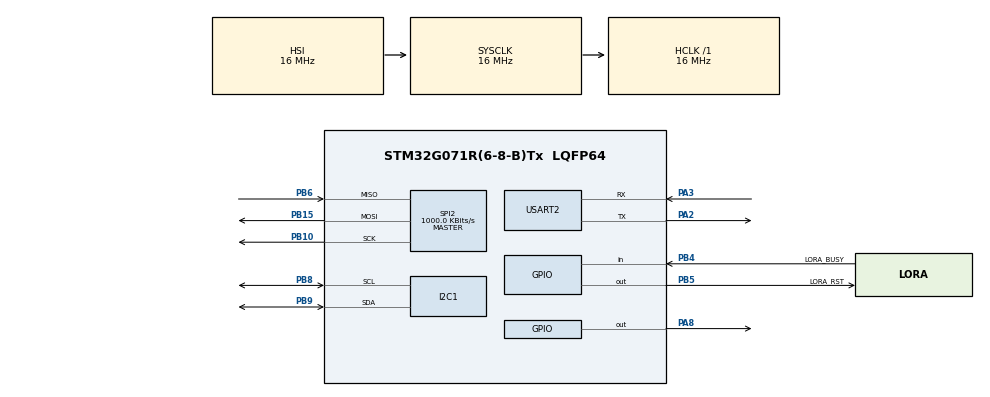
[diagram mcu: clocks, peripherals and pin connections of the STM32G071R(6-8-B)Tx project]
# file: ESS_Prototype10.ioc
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I2C1.Timing=0x00503D58
Mcu.Family=STM32G0
Mcu.Name=STM32G071R(6-8-B)Tx
Mcu.Package=LQFP64
NVIC.I2C1_IRQn=true\:0\:0\:false\:false\:true\:true\:true\:true
NVIC.RCC_IRQn=true\:0\:0\:false\:false\:true\:true\:false\:true
NVIC.SPI2_IRQn=true\:0\:0\:false\:false\:true\:true\:true\:true
NVIC.USART2_IRQn=true\:0\:0\:false\:false\:true\:true\:true\:true
PA13.Mode=Serial_Wire
PA13.Signal=SYS_SWDIO
PA14-BOOT0.Mode=Serial_Wire
PA14-BOOT0.Signal=SYS_SWCLK
PA2.Mode=Asynchronous
PA2.Signal=USART2_TX
PA3.Mode=Asynchronous
PA3.Signal=USART2_RX
PA8.Signal=GPIO_Output
PB10.Mode=Full_Duplex_Master
PB10.Signal=SPI2_SCK
PB15.Mode=Full_Duplex_Master
PB15.Signal=SPI2_MOSI
PB4.GPIO_Label=LORA_BUSY
PB4.Signal=GPIO_Input
PB5.GPIO_Label=LORA_RST
PB5.Signal=GPIO_Output
PB6.Mode=Full_Duplex_Master
PB6.Signal=SPI2_MISO
PB8.Mode=I2C
PB8.Signal=I2C1_SCL
PB9.Mode=I2C
PB9.Signal=I2C1_SDA
ProjectManager.HeapSize=0x200
ProjectManager.StackSize=0x400
ProjectManager.TargetToolchain=STM32CubeIDE
RCC.AHBFreq_Value=16000000
RCC.CortexFreq_Value=16000000
RCC.EXTERNAL_CLOCK_VALUE=48000
RCC.HCLKFreq_Value=16000000
RCC.HSE_VALUE=8000000
RCC.HSI_VALUE=16000000
RCC.LSE_VALUE=32768
RCC.SYSCLKFreq_VALUE=16000000
RCC.VCOOutputFreq_Value=128000000
SPI2.BaudRatePrescaler=SPI_BAUDRATEPRESCALER_16
SPI2.CalculateBaudRate=1000.0 KBits/s
SPI2.DataSize=SPI_DATASIZE_8BIT
SPI2.Direction=SPI_DIRECTION_2LINES
SPI2.Mode=SPI_MODE_MASTER
SPI2.VirtualType=VM_MASTER
USART2.VirtualMode-Asynchronous=VM_ASYNC
board=custom

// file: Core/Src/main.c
/* USER CODE BEGIN Header */
/* ============================================================================
 * Final Exam Project - IoT Prototype: Smart Sensing via LoRa.
 * Board: NUCLEO-G071RB + BME680 (I2C) + SX1262 LoRa HAT (SPI)
 * Group : 6
 * Student: Ridham Pansara
 * Date: 22 July 2025
 * Description:
 *   - Reads environmental data from BME680 over I2C
 *   - UART CLI for user commands (PuTTY)
 *   - Controls LoRa module (SX1262) over SPI (send Sensor Data and message)
 * ========================================================================== */
/* USER CODE END Header */
#include "main.h"           // Core STM32 includes, generated by CubeMX
#include "i2c.h"            // I2C interface for BME680 sensor
#include "spi.h"            // SPI interface for LoRa HAT
#include "usart.h"          // USART2 for UART CLI
#include "gpio.h"           // GPIO for pin controls

/* USER CODE BEGIN Includes */
#include "bme68x.h"         // Bosch BME680 sensor driver
#include "bme68x_defs.h"    // Extra BME680 definitions
#include <stdio.h>          // Standard C input/output
#include <string.h>         // String handling (for command parsing)
#include <math.h>           // Math library (not strictly needed, but safe)
/* USER CODE END Includes */

/* USER CODE BEGIN PD */
// === Pin/Peripheral Defines ===
#define BME68X_I2C_ADDR        0x77                // I2C address for BME680
#define LORA_NSS_Pin           GPIO_PIN_8          // Chip select (SPI NSS) pin for LoRa
#define LORA_NSS_GPIO_Port     GPIOA               // NSS pin port
#define LORA_BUSY_Pin          GPIO_PIN_4          // LoRa BUSY signal pin
#define LORA_BUSY_GPIO_Port    GPIOB               // BUSY pin port
#define LORA_RST_Pin           GPIO_PIN_5          // LoRa RESET pin
#define LORA_RST_GPIO_Port     GPIOB               // RESET pin port

/* USER CODE END PD */

/* USER CODE BEGIN PV */
// Handles created by CubeMX auto code
extern I2C_HandleTypeDef hi2c1;    // I2C1 handle for BME680
extern UART_HandleTypeDef huart2;  // UART2 handle for PC CLI
extern SPI_HandleTypeDef hspi2;    // SPI2 handle for LoRa HAT

// === Global Variables for Sensor and CLI State ===
struct bme68x_dev bme;                 // BME680 device struct for Bosch API
struct bme68x_conf conf;               // Configuration struct for BME680
struct bme68x_heatr_conf heatr_conf;   // Heater config for BME680
struct bme68x_data data;               // Holds latest measurement

uint8_t rx_byte;                       // Holds each byte received over UART
char command_buffer[32];               // Buffer to collect one user command
uint8_t cmd_index = 0;                 // Tracks where to store next character
/* USER CODE END PV */

void SystemClock_Config(void);
/* USER CODE BEGIN PFP */
// --- LoRa function prototypes ---
void LoRa_Select(void);
void LoRa_Unselect(void);
void LoRa_WaitWhileBusy(void);
void LoRa_WriteCommand(uint8_t cmd, uint8_t *data, uint16_t len);
void LoRa_SendString(const char* str);
void LoRa_SetStandby(void);
void LoRa_SetPacketType(void);
void LoRa_SetRfFrequency(uint32_t frequency_hz);
void LoRa_SetBufferBaseAddress(void);
void LoRa_SetModulationParams(void);
void LoRa_SetPacketParams(uint8_t payload_length);
void LoRa_SetTxParams(void);
void LoRa_SendString(const char* str);
void LoRa_Reset(void);
void LoRa_Init(void);
void LoRa_PrintStatus(void);
uint8_t LoRa_GetStatus(void);

/* USER CODE END PFP */

/* USER CODE BEGIN 0 */
/* ============================================================================
 * This function reroutes printf output to the UART (so it prints in PuTTY)
 * ========================================================================= */
int _write(int file, char *ptr, int len) {
    HAL_UART_Transmit(&huart2, (uint8_t*)ptr, len, HAL_MAX_DELAY); // Send buffer over UART2
    return len; // Return the number of bytes "written"
}

/* ============================================================================
 * BME680 - Bosch driver needs these callbacks for I2C and delay
 * ========================================================================= */
int8_t user_i2c_read(uint8_t reg_addr, uint8_t *data, uint32_t len, void *intf_ptr) {
    // Reads a register from BME680 using HAL I2C
    return HAL_I2C_Mem_Read((I2C_HandleTypeDef*)intf_ptr, BME68X_I2C_ADDR << 1, reg_addr,
                            I2C_MEMADD_SIZE_8BIT, data, len, HAL_MAX_DELAY) == HAL_OK ? 0 : -1;
}

int8_t user_i2c_write(uint8_t reg_addr, const uint8_t *data, uint32_t len, void *intf_ptr) {
    // Writes a register to BME680 using HAL I2C
    return HAL_I2C_Mem_Write((I2C_HandleTypeDef*)intf_ptr, BME68X_I2C_ADDR << 1, reg_addr,
                             I2C_MEMADD_SIZE_8BIT, (uint8_t*)data, len, HAL_MAX_DELAY) == HAL_OK ? 0 : -1;
}

void user_delay_us(uint32_t period, void *intf_ptr) {
    // Simple busy-wait for crude microsecond delay (good enough for sensor)
    for (volatile uint32_t i = 0; i < period * 10; i++) { __NOP(); }
}

/* ============================================================================
 * LoRa SPI Driver Functions (basic low-level SPI protocol for SX1262)
 * ========================================================================= */

// Activates the chip select pin for LoRa SPI (NSS LOW = active)
void LoRa_Select(void) {
    HAL_GPIO_WritePin(LORA_NSS_GPIO_Port, LORA_NSS_Pin, GPIO_PIN_RESET);
}

// Deactivates the chip select pin for LoRa SPI (NSS HIGH = inactive)
void LoRa_Unselect(void) {
    HAL_GPIO_WritePin(LORA_NSS_GPIO_Port, LORA_NSS_Pin, GPIO_PIN_SET);
}

// Waits until LoRa's BUSY pin goes low (module is ready for next SPI op)
void LoRa_WaitWhileBusy(void) {
    uint32_t timeout = HAL_GetTick() + 1000;  // 1 second timeout
    while (HAL_GPIO_ReadPin(LORA_BUSY_GPIO_Port, LORA_BUSY_Pin) == GPIO_PIN_SET) {
        if (HAL_GetTick() > timeout) {
            printf("[ERROR] BUSY timeout!\r\n");
            break; // exit while loop if stuck
        }
    }
}

// Issues a hardware reset pulse to the LoRa HAT (required for init)
void LoRa_Reset(void) {
    HAL_GPIO_WritePin(LORA_RST_GPIO_Port, LORA_RST_Pin, GPIO_PIN_RESET); // Set RESET low
    HAL_Delay(10);                                                       // Wait 10ms
    HAL_GPIO_WritePin(LORA_RST_GPIO_Port, LORA_RST_Pin, GPIO_PIN_SET);   // Set RESET high
    HAL_Delay(10);                                                       // Wait again
}

// Fully initialize/configure the SX1262 LoRa module.
void LoRa_Init(void) {
    LoRa_SetStandby();            // Standby mode (required for config)
    LoRa_SetPacketType();         // Set to LoRa packet type
    LoRa_SetRfFrequency(868000000); // Set EU ISM band, adjust if needed
    LoRa_SetBufferBaseAddress();  // TX/RX buffer address to 0
    LoRa_SetModulationParams();   // SF7/BW125/CR4_5
    LoRa_SetPacketParams(16);     // Default 16-byte payload, adjust as needed
    LoRa_SetTxParams();           // Output power, ramp time
    printf("LoRa: Module initialized.\r\n");
}

// Print the status of the SX126x chip.
void LoRa_PrintStatus(void) {
    uint8_t status = LoRa_GetStatus();
    printf("SX126x Status: 0x%02X\r\n", status);
}

// Sends a SPI command plus data payload to the LoRa chip
void LoRa_WriteCommand(uint8_t cmd, uint8_t *data, uint16_t len) {
    LoRa_WaitWhileBusy();                            // Wait until module is ready
    LoRa_Select();                                   // Activate NSS
    HAL_SPI_Transmit(&hspi2, &cmd, 1, 100);          // Send the command byte
    HAL_SPI_Transmit(&hspi2, data, len, 100);        // Send any extra data bytes
    LoRa_Unselect();                                 // Deactivate NSS
    LoRa_WaitWhileBusy();                            // Wait again for completion
}

// Puts LoRa module in standby (must be done before config/tx)
void LoRa_SetStandby(void) {
    uint8_t cmd[] = { 0x01, 0x00 }; // 0x01 = STDBY_RC mode
    LoRa_WriteCommand(0x80, cmd, sizeof(cmd)); // 0x80 = SetStandby command
}

// Tells LoRa to use LoRa modulation (not FSK)
void LoRa_SetPacketType(void) {
    uint8_t cmd[] = { 0x01 }; // 0x01 = LoRa packet
    LoRa_WriteCommand(0x8A, cmd, sizeof(cmd)); // 0x8A = SetPacketType
}

// Sets carrier frequency for LoRa (e.g., 868 MHz for Europe)
void LoRa_SetRfFrequency(uint32_t frequency_hz) {
    // Convert freq to SX1262 register format
    uint32_t freq = (uint32_t)((double)frequency_hz / 32000000.0 * (1 << 25));
    uint8_t cmd[] = {
        (uint8_t)(freq >> 24),
        (uint8_t)(freq >> 16),
        (uint8_t)(freq >> 8),
        (uint8_t)(freq >> 0)
    };
    LoRa_WriteCommand(0x86, cmd, sizeof(cmd)); // 0x86 = SetRfFrequency
}

// Sets output power and ramp time for transmission
void LoRa_SetTxParams(void) {
    uint8_t cmd[] = { 0x0F, 0xE0 }; // 0x0F = 15dBm, 0xE0 = 200us ramp
    LoRa_WriteCommand(0x8E, cmd, sizeof(cmd)); // 0x8E = SetTxParams
}

// Set buffer base address for both TX and RX (usually both 0)
void LoRa_SetBufferBaseAddress(void) {
    uint8_t cmd[] = { 0x00, 0x00 }; // TX base = 0x00, RX base = 0x00
    LoRa_WriteCommand(0x8F, cmd, sizeof(cmd)); // 0x8F = SetBufferBaseAddress
}

// Sets spreading factor, bandwidth, and coding rate (standard LoRa: SF7, 125kHz, CR4/5)
void LoRa_SetModulationParams(void) {
    uint8_t cmd[] = { 0x07, 0x04, 0x01 }; // SF7, 125kHz, CR 4/5
    LoRa_WriteCommand(0x8B, cmd, sizeof(cmd)); // 0x8B = SetModulationParams
}

// Packet parameters: preamble, explicit header, payload length, no CRC, standard IQ
void LoRa_SetPacketParams(uint8_t payload_length) {
    uint8_t cmd[] = { 0x08, 0x00, payload_length, 0x00, 0x00 };
    LoRa_WriteCommand(0x8C, cmd, sizeof(cmd)); // 0x8C = SetPacketParams
}

// Sends a string as LoRa packet (all config done each time for safety)
void LoRa_SendString(const char* str) {
    uint8_t buffer[256];                                  // Holds transmit payload
    uint8_t length = strlen(str);                         // Actual length of message
    buffer[0] = 0x00;                                     // Offset for write buffer
    memcpy(&buffer[1], str, length);                      // Copy message into buffer (after offset byte)

    LoRa_SetStandby();                                    // Required before configuration
    LoRa_SetPacketType();                                 // Use LoRa modulation
    LoRa_SetRfFrequency(868000000);                       // Set frequency to 868 MHz (EU)
    LoRa_SetBufferBaseAddress();                          // Start buffer at 0
    LoRa_SetModulationParams();                           // SF7/125kHz/CR4/5
    LoRa_SetPacketParams(length);                         // Set payload length
    LoRa_SetTxParams();                                   // Set TX power, ramp

    LoRa_WriteCommand(0x0E, buffer, length + 1);          // 0x0E = WriteBuffer command

    uint8_t tx_cmd[] = { 0x00, 0x00 };                    // Trigger TX, 0 = blocking
    LoRa_WriteCommand(0x83, tx_cmd, sizeof(tx_cmd));      // 0x83 = SetTx

    printf("LoRa: Sent '%s'\r\n", str);                   // Print confirmation to UART
}

// Reads the status register from the SX126x LoRa radio via SPI.
// This sends the GetStatus command (0xC0) and retrieves the status byte.
// uint8_t  The status byte read from the LoRa module.
uint8_t LoRa_GetStatus(void) {
    uint8_t cmd = 0xC0;       // 0xC0 is the GetStatus command for SX126x
    uint8_t dummy = 0x00;     // Dummy byte, required for clocking data out
    uint8_t status = 0;       // Variable to hold the status returned

    LoRa_Select();                                            // Pull NSS (chip select) low to begin SPI transaction
    HAL_SPI_Transmit(&hspi2, &cmd, 1, HAL_MAX_DELAY);         // Send the GetStatus command (0xC0)
    HAL_SPI_Transmit(&hspi2, &dummy, 1, HAL_MAX_DELAY);       // Send a dummy byte (required by SX126x protocol)
    HAL_SPI_Receive(&hspi2, &status, 1, HAL_MAX_DELAY);       // Receive the status byte from the LoRa module
    LoRa_Unselect();                                          // Pull NSS (chip select) high to end SPI transaction

    return status;                                            // Return the received status byte
}

/* ============================================================================
 * Initializes the BME680 sensor over I2C and sets config
 * ========================================================================= */
void BME680_Init(void) {
    bme.intf = BME68X_I2C_INTF;                   // Use I2C
    bme.read = user_i2c_read;                     // Attach I2C read callback
    bme.write = user_i2c_write;                   // Attach I2C write callback
    bme.delay_us = user_delay_us;                 // Attach delay callback
    bme.intf_ptr = &hi2c1;                        // Give Bosch API the I2C handle

    if (bme68x_init(&bme) != BME68X_OK) {         // Initialize sensor, fail if not OK
        printf("BME680 init failed!\r\n");
        while (1);
    }
    conf.os_temp = BME68X_OS_8X;                  // Set temperature oversampling (8x)
    conf.os_pres = BME68X_OS_4X;                  // Set pressure oversampling (4x)
    conf.os_hum = BME68X_OS_2X;                   // Set humidity oversampling (2x)
    conf.filter = BME68X_FILTER_SIZE_3;           // Set IIR filter size
    conf.odr = BME68X_ODR_NONE;                   // No periodic output
    bme68x_set_conf(&conf, &bme);                 // Send config to sensor

    heatr_conf.enable = BME68X_ENABLE;            // Turn on gas heater
    heatr_conf.heatr_temp = 320;                  // Heater temp (°C)
    heatr_conf.heatr_dur = 150;                   // Heater duration (ms)
    bme68x_set_heatr_conf(BME68X_FORCED_MODE, &heatr_conf, &bme); // Set heater

    printf("BME680 Initialized.\r\n");            // Confirmation on UART
}

/* ============================================================================
 * Main CLI command handler - interprets user's command strings
 * ========================================================================= */
void handle_command(char *cmd) {

	// --- Basic Math Operations (SUM, SUB, MUL, DIV) ---
	    int a, b, n;
	    if (sscanf(cmd, "SUM %d %d%n", &a, &b, &n) == 2 && n == strlen(cmd)) {
	        printf("Result: %d\r\n", a + b);
	        return;
	    }
	    if (sscanf(cmd, "SUB %d %d%n", &a, &b, &n) == 2 && n == strlen(cmd)) {
	        printf("Result: %d\r\n", a - b);
	        return;
	    }
	    if (sscanf(cmd, "MUL %d %d%n", &a, &b, &n) == 2 && n == strlen(cmd)) {
	        printf("Result: %d\r\n", a * b);
	        return;
	    }
	    if (sscanf(cmd, "DIV %d %d%n", &a, &b, &n) == 2 && n == strlen(cmd)) {
	        if (b == 0) {
	            printf("Error: Division by zero!\r\n");
	        } else {
	            printf("Result: %d\r\n", a / b);
	        }
	        return;
	    }

	if (strcmp(cmd, "START") == 0) {
	        // (Your startup logic here)
	        // init LoRa, BME680, print banner, commands, etc.
	        LoRa_Reset();
	        LoRa_SetStandby();
	        LoRa_SetPacketType();
	        LoRa_SetRfFrequency(868000000);
	        LoRa_SetBufferBaseAddress();
	        LoRa_SetModulationParams();
	        LoRa_SetPacketParams(8);
	        LoRa_SetTxParams();

	        printf("\r\n========== IoT Prototype: Smart Sensing via LoRa. ==========\r\n");
	        printf("BUSY pin state: %d\r\n", HAL_GPIO_ReadPin(LORA_BUSY_GPIO_Port, LORA_BUSY_Pin));
	        uint8_t lora_status = LoRa_GetStatus();
	        printf("LoRa Status: 0x%02X\r\n", lora_status);

	        BME680_Init();
	        HAL_Delay(500);

	        printf("IoT Prototype: CLI Started\r\n");
	        printf("Type TEMP, HUM, PRESS, GAS, ALL, LORA SEND <cmd> and <msg>, LORA STATUS, LORA INIT, LORA RESET, SUM, SUB, MUL, DIV, START and hit Enter\r\n\r\n");
	        return;
	    }

    // "LORA SEND ALL": Transmit all sensor values via LoRa.
	    else if (strcmp(cmd, "LORA SEND ALL") == 0) {
        bme68x_set_op_mode(BME68X_FORCED_MODE, &bme); // Start forced measurement on BME680
        uint32_t delay_us = bme68x_get_meas_dur(BME68X_FORCED_MODE, &conf, &bme) + heatr_conf.heatr_dur * 1000; // Calculate measurement time
        user_delay_us(delay_us, bme.intf_ptr); // Wait for measurement to finish
        uint8_t n_fields = 0; // To store number of valid data fields
        if (bme68x_get_data(BME68X_FORCED_MODE, &data, &n_fields, &bme) != BME68X_OK || n_fields == 0) {
            printf("Sensor data not available.\r\n"); // Error if no data
            return;
        }
        char lora_msg[80]; // Buffer for LoRa message
        snprintf(lora_msg, sizeof(lora_msg), "T:%.2f,H:%.2f,P:%.2f,G:%.2f",
                 data.temperature, data.humidity, data.pressure / 100.0f, (float)data.gas_resistance); // Format all data
        LoRa_SendString(lora_msg); // Send over LoRa
     //   printf("LoRa: Sent sensor data: %s\r\n", lora_msg); // Print what was sent
        return;
    }

    // "LORA SEND TEMP": Transmit only temperature value via LoRa.
    else if (strcmp(cmd, "LORA SEND TEMP") == 0) {
        bme68x_set_op_mode(BME68X_FORCED_MODE, &bme); // Start forced measurement
        uint32_t delay_us = bme68x_get_meas_dur(BME68X_FORCED_MODE, &conf, &bme) + heatr_conf.heatr_dur * 1000; // Delay
        user_delay_us(delay_us, bme.intf_ptr); // Wait
        uint8_t n_fields = 0;
        if (bme68x_get_data(BME68X_FORCED_MODE, &data, &n_fields, &bme) != BME68X_OK || n_fields == 0) {
            printf("Sensor data not available.\r\n");
            return;
        }
        char lora_msg[32];
        snprintf(lora_msg, sizeof(lora_msg), "T:%.2f", data.temperature); // Format temperature
        LoRa_SendString(lora_msg); // Send over LoRa
     //   printf("LoRa: Sent temperature: %s\r\n", lora_msg); // Print sent value
        return;
    }

    // "LORA SEND HUM": Transmit only humidity value via LoRa.
    else if (strcmp(cmd, "LORA SEND HUM") == 0) {
        bme68x_set_op_mode(BME68X_FORCED_MODE, &bme); // Start measurement
        uint32_t delay_us = bme68x_get_meas_dur(BME68X_FORCED_MODE, &conf, &bme) + heatr_conf.heatr_dur * 1000; // Delay
        user_delay_us(delay_us, bme.intf_ptr); // Wait
        uint8_t n_fields = 0;
        if (bme68x_get_data(BME68X_FORCED_MODE, &data, &n_fields, &bme) != BME68X_OK || n_fields == 0) {
            printf("Sensor data not available.\r\n");
            return;
        }
        char lora_msg[32];
        snprintf(lora_msg, sizeof(lora_msg), "H:%.2f", data.humidity); // Format humidity
        LoRa_SendString(lora_msg); // Send over LoRa
      //  printf("LoRa: Sent humidity: %s\r\n", lora_msg);
        return;
    }

    // "LORA SEND PRESS": Transmit only pressure value via LoRa.
    else if (strcmp(cmd, "LORA SEND PRESS") == 0) {
        bme68x_set_op_mode(BME68X_FORCED_MODE, &bme); // Start measurement
        uint32_t delay_us = bme68x_get_meas_dur(BME68X_FORCED_MODE, &conf, &bme) + heatr_conf.heatr_dur * 1000; // Delay
        user_delay_us(delay_us, bme.intf_ptr); // Wait
        uint8_t n_fields = 0;
        if (bme68x_get_data(BME68X_FORCED_MODE, &data, &n_fields, &bme) != BME68X_OK || n_fields == 0) {
            printf("Sensor data not available.\r\n");
            return;
        }
        char lora_msg[32];
        snprintf(lora_msg, sizeof(lora_msg), "P:%.2f", data.pressure / 100.0f); // Format pressure
        LoRa_SendString(lora_msg); // Send over LoRa
      //  printf("LoRa: Sent pressure: %s\r\n", lora_msg);
        return;
    }

    // "LORA SEND GAS": Transmit only gas resistance value via LoRa.
    else if (strcmp(cmd, "LORA SEND GAS") == 0) {
        bme68x_set_op_mode(BME68X_FORCED_MODE, &bme); // Start measurement
        uint32_t delay_us = bme68x_get_meas_dur(BME68X_FORCED_MODE, &conf, &bme) + heatr_conf.heatr_dur * 1000; // Delay
        user_delay_us(delay_us, bme.intf_ptr); // Wait
        uint8_t n_fields = 0;
        if (bme68x_get_data(BME68X_FORCED_MODE, &data, &n_fields, &bme) != BME68X_OK || n_fields == 0) {
            printf("Sensor data not available.\r\n");
            return;
        }
        char lora_msg[32];
        snprintf(lora_msg, sizeof(lora_msg), "G:%.2f", (float)data.gas_resistance); // Format gas
        LoRa_SendString(lora_msg); // Send over LoRa
      //  printf("LoRa: Sent gas: %s\r\n", lora_msg);
        return;
    }

    // "LORA SEND <custom>": Any other string is sent as-is via LoRa.
    else if (strncmp(cmd, "LORA SEND ", 10) == 0) {
        LoRa_SendString(&cmd[10]); // Send whatever comes after "LORA SEND "
      //  printf("LoRa: Sent '%s'\r\n", &cmd[10]); // Print sent text
        return;
    }

    // "LORA STATUS": Read and print LoRa module's SPI status byte.
    else if (strcmp(cmd, "LORA STATUS") == 0) {
        uint8_t status = LoRa_GetStatus(); // Read status via SPI
        printf("SX1262 Status: 0x%02X\r\n", status); // Print in hex
        return;
    }

    // "LORA RESET": Hardware reset + full re-init sequence for LoRa module.
    else if (strcmp(cmd, "LORA RESET") == 0) {
        LoRa_Reset(); // Toggle hardware reset pin
        LoRa_SetStandby(); // Set standby mode
        LoRa_SetPacketType(); // Set LoRa packet mode
        LoRa_SetRfFrequency(868000000); // Set frequency
        LoRa_SetBufferBaseAddress(); // Set buffer addresses
        LoRa_SetModulationParams(); // Set modulation
        LoRa_SetPacketParams(8); // Set packet params (payload len)
        LoRa_SetTxParams(); // Set output power, ramp
        printf("SX1262 Reset done and re-initialized.\r\n"); // Done
        return;
    }

    // "LORA INIT": Run LoRa chip's config/init sequence.
    else if (strcmp(cmd, "LORA INIT") == 0) {
        LoRa_SetStandby(); // Standby mode
        LoRa_SetPacketType(); // LoRa packet
        LoRa_SetRfFrequency(868000000); // Frequency
        LoRa_SetBufferBaseAddress(); // Buffer address
        LoRa_SetModulationParams(); // Modulation params
        LoRa_SetPacketParams(8); // Packet params
        LoRa_SetTxParams(); // TX params
        printf("SX1262 Init sequence completed.\r\n"); // Done
        return;
    }

    // --- Otherwise: read from BME680 and print to UART ---
    bme68x_set_op_mode(BME68X_FORCED_MODE, &bme); // Start sensor measurement
    uint32_t delay_us = bme68x_get_meas_dur(BME68X_FORCED_MODE, &conf, &bme) + heatr_conf.heatr_dur * 1000; // Delay
    user_delay_us(delay_us, bme.intf_ptr); // Wait for conversion
    uint8_t n_fields = 0;
    if (bme68x_get_data(BME68X_FORCED_MODE, &data, &n_fields, &bme) != BME68X_OK || n_fields == 0) {
        printf("Sensor data not available.\r\n"); // Error
        return;
    }
    float temp = data.temperature; // Store temp
    float hum = data.humidity; // Store hum
    float press = data.pressure / 100.0f; // Store pressure
    float gas = (float)data.gas_resistance; // Store gas

    if (strcmp(cmd, "TEMP") == 0) {
        printf("Temperature: %.2f C\r\n", temp); // Print temperature
        return;
    } else if (strcmp(cmd, "HUM") == 0) {
        printf("Humidity: %.2f %%RH\r\n", hum); // Print humidity
        return;
    } else if (strcmp(cmd, "PRESS") == 0) {
        printf("Pressure: %.2f hPa\r\n", press); // Print pressure
        return;
    } else if (strcmp(cmd, "GAS") == 0) {
        printf("Gas Resistance: %.2f Ohms\r\n", gas); // Print gas
        return;
    } else if (strcmp(cmd, "ALL") == 0) {
        printf("Temperature: %.2f C\r\n", temp); // Print temperature
        printf("Humidity:    %.2f %%RH\r\n", hum); // Print humidity
        printf("Pressure:    %.2f hPa\r\n", press); // Print pressure
        printf("Gas:         %.2f Ohms\r\n", gas); // Print gas
        return;
    } else {
        printf("Unknown command: %s\r\n", cmd); // Print unknown
        return;
    }

}

/* ============================================================================
 * UART Receive Interrupt Handler - builds up a user command line
 * ========================================================================= */
volatile uint8_t cmd_ready = 0; // Global flag: set to 1 when a complete command is received

void HAL_UART_RxCpltCallback(UART_HandleTypeDef *huart) {
    // Check if the interrupt is from USART2 (our UART for CLI)
    if (huart->Instance == USART2) {
        // Check if received byte is a line ending (Enter key)
        if (rx_byte == '\r' || rx_byte == '\n') {
            // Only process if command buffer has content
            if (cmd_index > 0) {
                command_buffer[cmd_index] = '\0';  // Null-terminate the command string
                cmd_ready = 1;                     // Set flag to signal command is ready for processing
                cmd_index = 0;                     // Reset buffer index for next command
            }
        } else {
            command_buffer[cmd_index++] = rx_byte; // Add byte to buffer and increment index
            if (cmd_index >= sizeof(command_buffer))
                cmd_index = 0; // Prevent buffer overflow: reset if too long
        }
        HAL_UART_Receive_IT(&huart2, &rx_byte, 1); // Restart UART interrupt to keep receiving
    }
}

volatile uint8_t system_started = 0; // 0 = not started, 1 = started

/* USER CODE END 0 */

/* ============================================================================
 * MAIN ENTRY POINT - sets up everything, then runs main loop
 * ========================================================================= */
int main(void)
{

  /* MCU Configuration--------------------------------------------------------*/

  /* Reset of all peripherals, Initializes the Flash interface and the Systick. */
	HAL_Init();                                // STM32 HAL and hardware abstraction init

  /* Configure the system clock */
	SystemClock_Config();                      // Set up system clock (from CubeMX)

  /* Initialize all configured peripherals */
	MX_GPIO_Init();                            // Initialize GPIOs (including SPI/I2C)
	MX_I2C1_Init();                            // Set up I2C1 (BME680 sensor)
	MX_USART2_UART_Init();                     // Set up USART2 for UART CLI
	MX_SPI2_Init();                            // Set up SPI2 for LoRa HAT
  /* USER CODE BEGIN 2 */

	printf("ENTER START TO START YOUR NUCLEO.\r\n");
	HAL_UART_Receive_IT(&huart2, &rx_byte, 1);

  /* USER CODE END 2 */

  /* Infinite loop */
  /* USER CODE BEGIN WHILE */
  while (1)
  {
	  if (cmd_ready) {                                   // Check if a full user command has been received via UART
	      if (!system_started) {                         // If system is NOT started (waiting for "START" command)
	          if (strcmp(command_buffer, "START") == 0) { // If the received command is "START"
	              system_started = 1;                    // Set flag to indicate system has now started
	              handle_command("START");               // Run initialization/start logic in command handler
	          } else {
	              printf("ENTER START TO START YOUR NUCLEO.\r\n"); // Prompt user to type START if they send any other command
	          }
	      } else {                                       // If system is already started (normal mode)
	          printf("Command received: %s\r\n", command_buffer); // Print received command for user feedback
	          handle_command(command_buffer);            // Pass the command string to be processed
	      }
	      cmd_ready = 0;                                 // Reset the command ready flag so we can process next command
	  }
	  HAL_Delay(10);                                     // Small delay to prevent CPU overuse (reduce busy-waiting)

    /* USER CODE END WHILE */

  }
}

void SystemClock_Config(void)
{
  RCC_OscInitTypeDef RCC_OscInitStruct = {0};
  RCC_ClkInitTypeDef RCC_ClkInitStruct = {0};

  /** Configure the main internal regulator output voltage
  */
  HAL_PWREx_ControlVoltageScaling(PWR_REGULATOR_VOLTAGE_SCALE1);

  /** Initializes the RCC Oscillators according to the specified parameters
  * in the RCC_OscInitTypeDef structure.
  */
  RCC_OscInitStruct.OscillatorType = RCC_OSCILLATORTYPE_HSI;
  RCC_OscInitStruct.HSIState = RCC_HSI_ON;
  RCC_OscInitStruct.HSIDiv = RCC_HSI_DIV1;
  RCC_OscInitStruct.HSICalibrationValue = RCC_HSICALIBRATION_DEFAULT;
  RCC_OscInitStruct.PLL.PLLState = RCC_PLL_NONE;
  if (HAL_RCC_OscConfig(&RCC_OscInitStruct) != HAL_OK)
  {
    Error_Handler();
  }

  /** Initializes the CPU, AHB and APB buses clocks
  */
  RCC_ClkInitStruct.ClockType = RCC_CLOCKTYPE_HCLK|RCC_CLOCKTYPE_SYSCLK
                              |RCC_CLOCKTYPE_PCLK1;
  RCC_ClkInitStruct.SYSCLKSource = RCC_SYSCLKSOURCE_HSI;
  RCC_ClkInitStruct.AHBCLKDivider = RCC_SYSCLK_DIV1;
  RCC_ClkInitStruct.APB1CLKDivider = RCC_HCLK_DIV1;

  if (HAL_RCC_ClockConfig(&RCC_ClkInitStruct, FLASH_LATENCY_0) != HAL_OK)
  {
    Error_Handler();
  }
}

void Error_Handler(void)
{
  __disable_irq();
  while (1)
  {
  }
}
